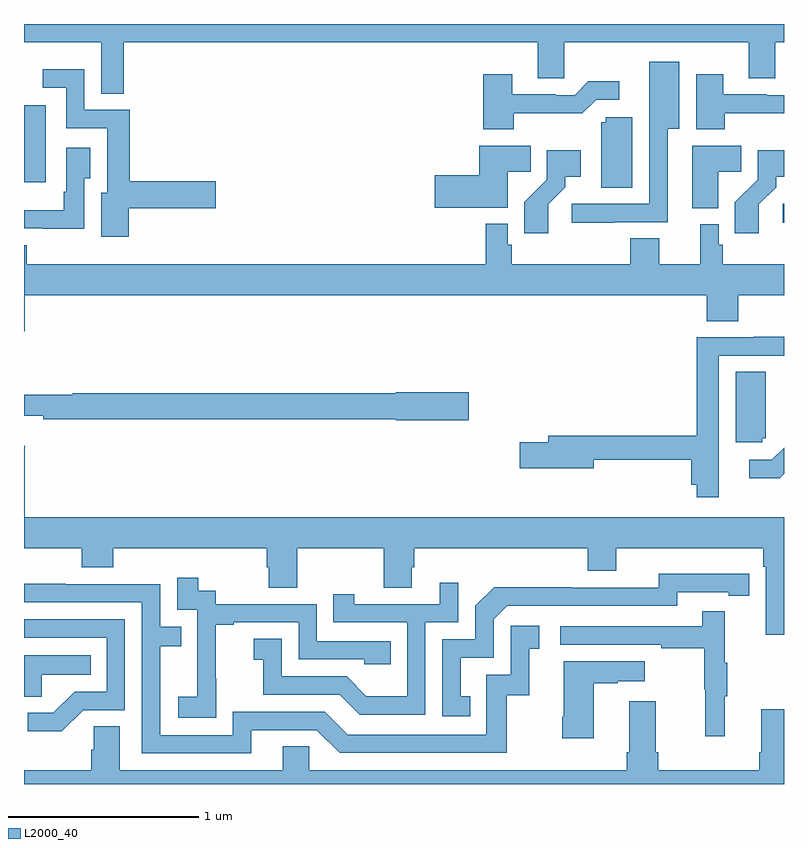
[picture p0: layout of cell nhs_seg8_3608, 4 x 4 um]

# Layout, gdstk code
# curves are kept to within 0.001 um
import gdstk
lib = gdstk.Library(unit=1e-6, precision=1e-09)
def R(c, l, rs):  # rectangles x0, y0, x1, y1
    for r in rs: c.add(gdstk.rectangle(r[:2], r[2:], *l))
def P(c, l, *ps):  # polygons
    for p in ps: c.add(gdstk.Polygon(p, *l))
L2000_40 = (2000, 40)

nhs_seg8_3608 = lib.new_cell('nhs_seg8_3608')
R(nhs_seg8_3608, L2000_40, [(336.993,1144.855,337,1144.953), (333,1145.067,333.115,1145.473)])
P(nhs_seg8_3608, L2000_40, [(333.526,1145.804),(335.705,1145.804),(335.705,1145.614),(335.844,1145.614),(335.844,1145.804),(336.815,1145.804),(336.815,1145.614),(336.954,1145.614),(336.954,1145.804),(337,1145.804),(337,1145.9),(333,1145.9),(333,1145.804),(333.407,1145.804),(333.407,1145.533),(333.526,1145.533)],
  [(336.107,1144.857),(336.388,1144.857),(336.388,1145.348),(336.448,1145.348),(336.448,1145.701),(336.29,1145.701),(336.29,1145.452),(336.291,1145.452),(336.291,1144.953),(335.883,1144.953),(335.883,1144.855),(336.107,1144.855)],
  [(333.551,1144.93),(334.009,1144.93),(334.009,1145.072),(333.556,1145.072),(333.556,1145.448),(333.318,1145.448),(333.318,1145.662),(333.099,1145.662),(333.099,1145.565),(333.222,1145.565),(333.222,1145.352),(333.437,1145.352),(333.437,1145.011),(333.407,1145.011),(333.407,1144.779),(333.551,1144.779)],
  [(336.687,1145.43),(336.95,1145.43),(336.95,1145.429),(337,1145.429),(337,1145.526),(336.908,1145.526),(336.908,1145.529),(336.679,1145.529),(336.679,1145.635),(336.539,1145.635),(336.539,1145.345),(336.687,1145.345)],
  [(335.577,1145.43),(335.939,1145.429),(336.012,1145.502),(336.133,1145.502),(336.133,1145.599),(335.971,1145.599),(335.898,1145.526),(335.798,1145.526),(335.798,1145.529),(335.569,1145.529),(335.569,1145.635),(335.417,1145.635),(335.417,1145.345),(335.577,1145.345)],
  [(336.202,1145.409),(336.063,1145.409),(336.063,1145.382),(336.038,1145.382),(336.038,1145.038),(336.202,1145.038)],
  [(336.655,1145.122),(336.776,1145.122),(336.776,1145.26),(336.518,1145.26),(336.518,1144.931),(336.655,1144.931)],
  [(335.545,1145.122),(335.666,1145.122),(335.666,1145.26),(335.396,1145.26),(335.396,1145.105),(335.163,1145.105),(335.163,1144.934),(335.545,1144.934)],
  [(333.318,1145.089),(333.349,1145.089),(333.349,1145.248),(333.222,1145.248),(333.222,1145.017),(333.21,1145.017),(333.21,1144.921),(333,1144.921),(333,1144.824),(333.097,1144.824),(333.097,1144.823),(333.318,1144.823)],
  [(335.758,1144.951),(335.848,1145.041),(335.848,1145.096),(335.929,1145.096),(335.929,1145.236),(335.751,1145.236),(335.751,1145.081),(335.632,1144.962),(335.632,1144.8),(335.758,1144.8)],
  [(336.868,1144.951),(336.958,1145.041),(336.958,1145.096),(337,1145.096),(337,1145.236),(336.861,1145.236),(336.861,1145.081),(336.742,1144.962),(336.742,1144.8),(336.868,1144.8)],
  [(333.004,1144.472),(336.593,1144.472),(336.593,1144.336),(336.758,1144.336),(336.758,1144.472),(337,1144.472),(337,1144.636),(336.677,1144.636),(336.677,1144.737),(336.657,1144.737),(336.657,1144.846),(336.56,1144.846),(336.56,1144.636),(336.343,1144.636),(336.343,1144.772),(336.191,1144.772),(336.191,1144.636),(335.567,1144.636),(335.567,1144.737),(335.547,1144.737),(335.547,1144.849),(335.431,1144.849),(335.431,1144.636),(333.014,1144.636),(333.014,1144.735),(333,1144.735),(333,1144.284),(333.004,1144.284)],
  [(336.657,1144.155),(337,1144.155),(337,1144.254),(336.841,1144.254),(336.841,1144.251),(336.541,1144.251),(336.541,1143.734),(335.759,1143.734),(335.759,1143.698),(335.61,1143.698),(335.61,1143.563),(335.998,1143.563),(335.998,1143.606),(336.512,1143.606),(336.512,1143.476),(336.541,1143.476),(336.541,1143.408),(336.657,1143.408)],
  [(336.885,1143.72),(336.904,1143.72),(336.904,1144.069),(336.746,1144.069),(336.746,1143.699),(336.885,1143.699)],
  [(335.341,1143.962),(334.956,1143.962),(334.956,1143.956),(333.256,1143.956),(333.256,1143.949),(333,1143.949),(333,1143.839),(333.1,1143.839),(333.1,1143.82),(334.956,1143.82),(334.956,1143.815),(335.341,1143.815)],
  [(337,1143.304),(333.004,1143.304),(333.004,1143.679),(333,1143.679),(333,1143.14),(333.305,1143.14),(333.305,1143.041),(333.47,1143.041),(333.47,1143.14),(334.277,1143.14),(334.277,1143.042),(334.289,1143.042),(334.289,1142.932),(334.437,1142.932),(334.437,1143.14),(334.894,1143.14),(334.894,1142.932),(335.041,1142.932),(335.041,1143.042),(335.054,1143.042),(335.054,1143.14),(335.966,1143.14),(335.966,1143.023),(336.118,1143.023),(336.118,1143.14),(336.89,1143.14),(336.89,1143.044),(336.903,1143.044),(336.903,1142.685),(337,1142.685)],
  [(337,1143.532),(337,1143.67),(336.936,1143.606),(336.816,1143.606),(336.816,1143.509),(336.977,1143.509)],
  [(335.348,1142.361),(335.299,1142.361),(335.299,1142.565),(335.472,1142.565),(335.472,1142.766),(335.544,1142.838),(336.438,1142.838),(336.438,1142.91),(336.71,1142.91),(336.71,1142.89),(336.818,1142.89),(336.818,1143.006),(336.342,1143.007),(336.342,1142.934),(335.882,1142.934),(335.882,1142.936),(335.474,1142.936),(335.376,1142.838),(335.376,1142.661),(335.202,1142.661),(335.202,1142.256),(335.348,1142.256)],
  [(334.011,1142.455),(334.01,1142.455),(334.01,1142.739),(334.105,1142.739),(334.105,1142.751),(334.446,1142.751),(334.446,1142.556),(334.791,1142.556),(334.791,1142.529),(334.931,1142.529),(334.931,1142.652),(334.542,1142.652),(334.542,1142.847),(334.008,1142.847),(334.008,1142.916),(333.916,1142.916),(333.916,1142.986),(333.807,1142.986),(333.807,1142.817),(333.912,1142.817),(333.912,1142.588),(333.911,1142.588),(333.911,1142.359),(333.813,1142.359),(333.813,1142.249),(334.011,1142.249)],
  [(335.112,1142.751),(335.286,1142.751),(335.286,1142.959),(335.189,1142.959),(335.189,1142.847),(334.738,1142.847),(334.738,1142.899),(334.627,1142.899),(334.627,1142.751),(335.016,1142.751),(335.016,1142.362),(334.802,1142.362),(334.698,1142.466),(334.356,1142.466),(334.356,1142.665),(334.209,1142.665),(334.209,1142.555),(334.258,1142.555),(334.258,1142.37),(334.661,1142.37),(334.766,1142.265),(335.112,1142.265)],
  [(334.195,1142.184),(334.542,1142.184),(334.662,1142.064),(335.542,1142.064),(335.542,1142.367),(335.66,1142.367),(335.66,1142.613),(335.713,1142.613),(335.713,1142.734),(335.562,1142.734),(335.562,1142.475),(335.433,1142.475),(335.433,1142.16),(334.704,1142.16),(334.584,1142.28),(334.098,1142.28),(334.098,1142.157),(333.717,1142.157),(333.717,1142.626),(333.827,1142.626),(333.827,1142.727),(333.717,1142.727),(333.717,1142.952),(333.221,1142.952),(333.221,1142.954),(333,1142.954),(333,1142.856),(333.621,1142.856),(333.621,1142.061),(334.195,1142.061)],
  [(336.689,1142.363),(336.7,1142.363),(336.7,1142.537),(336.689,1142.537),(336.689,1142.809),(336.571,1142.809),(336.571,1142.73),(335.823,1142.73),(335.823,1142.634),(336.355,1142.634),(336.355,1142.614),(336.579,1142.614),(336.579,1142.4),(336.586,1142.4),(336.586,1142.151),(336.689,1142.151)],
  [(333.312,1142.289),(333.531,1142.289),(333.531,1142.766),(333,1142.766),(333,1142.67),(333.435,1142.67),(333.435,1142.385),(333.266,1142.385),(333.155,1142.274),(333.021,1142.274),(333.021,1142.177),(333.199,1142.177)],
  [(333.093,1142.474),(333.35,1142.474),(333.35,1142.578),(333,1142.578),(333,1142.359),(333.093,1142.359)],
  [(335.998,1142.431),(336.125,1142.431),(336.125,1142.441),(336.268,1142.441),(336.268,1142.545),(335.84,1142.545),(335.84,1142.254),(335.833,1142.254),(335.833,1142.142),(335.998,1142.142)],
  [(337,1142.293),(336.881,1142.293),(336.881,1142.068),(336.869,1142.068),(336.869,1141.972),(336.338,1141.972),(336.338,1142.068),(336.325,1142.068),(336.325,1142.335),(336.185,1142.335),(336.185,1142.068),(336.173,1142.068),(336.173,1141.972),(334.5,1141.972),(334.5,1142.099),(334.361,1142.099),(334.361,1141.972),(333.505,1141.972),(333.505,1142.204),(333.366,1142.204),(333.366,1142.081),(333.353,1142.081),(333.353,1141.972),(333,1141.972),(333,1141.9),(337,1141.9)])

lib.write_gds('nhs_seg8_3608.gds')
